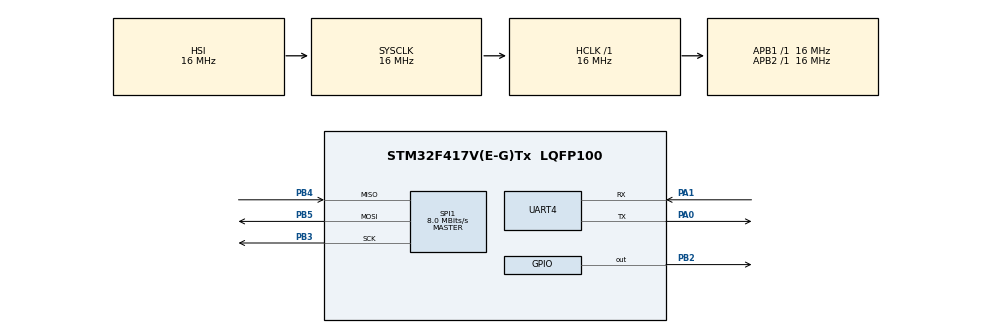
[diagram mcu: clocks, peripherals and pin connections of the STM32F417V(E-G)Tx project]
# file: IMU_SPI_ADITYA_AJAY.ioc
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FREERTOS.Tasks01=defaultTask,24,128,StartDefaultTask,Default,NULL,Dynamic,NULL,NULL
Mcu.Family=STM32F4
Mcu.Name=STM32F417V(E-G)Tx
Mcu.Package=LQFP100
NVIC.PriorityGroup=NVIC_PRIORITYGROUP_4
PA0-WKUP.Mode=Asynchronous
PA0-WKUP.Signal=UART4_TX
PA1.Mode=Asynchronous
PA1.Signal=UART4_RX
PB2.Signal=GPIO_Output
PB3.Mode=Full_Duplex_Master
PB3.Signal=SPI1_SCK
PB4.Mode=Full_Duplex_Master
PB4.Signal=SPI1_MISO
PB5.Mode=Full_Duplex_Master
PB5.Signal=SPI1_MOSI
ProjectManager.HeapSize=0x200
ProjectManager.StackSize=0x400
ProjectManager.TargetToolchain=STM32CubeIDE
RCC.AHBFreq_Value=16000000
RCC.APB1Freq_Value=16000000
RCC.APB2Freq_Value=16000000
RCC.CortexFreq_Value=16000000
RCC.HSE_VALUE=25000000
RCC.HSI_VALUE=16000000
RCC.LSE_VALUE=32768
RCC.SYSCLKFreq_VALUE=16000000
RCC.VCOOutputFreq_Value=192000000
SPI1.CalculateBaudRate=8.0 MBits/s
SPI1.Direction=SPI_DIRECTION_2LINES
SPI1.Mode=SPI_MODE_MASTER
SPI1.VirtualType=VM_MASTER
UART4.VirtualMode=Asynchronous
VP_FREERTOS_VS_CMSIS_V2.Mode=CMSIS_V2
board=custom

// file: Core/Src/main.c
/* USER CODE BEGIN Header */
/**
  ******************************************************************************
  * @file           : main.c
  * @brief          : Main program body
  ******************************************************************************
  * @attention
  *
  * Copyright (c) 2024 STMicroelectronics.
  * All rights reserved.
  *
  * This software is licensed under terms that can be found in the LICENSE file
  * in the root directory of this software component.
  * If no LICENSE file comes with this software, it is provided AS-IS.
  *
  ******************************************************************************
  */
/* USER CODE END Header */
#include "main.h"
#include "cmsis_os.h"

/* USER CODE BEGIN Includes */

#include <stdio.h>
#include "FreeRTOS.h"
#include "task.h"
/* USER CODE END Includes */

SPI_HandleTypeDef hspi1;

UART_HandleTypeDef huart4;

/* Definitions for defaultTask */
osThreadId_t defaultTaskHandle;
const osThreadAttr_t defaultTask_attributes = {
  .name = "defaultTask",
  .stack_size = 128 * 4,
  .priority = (osPriority_t) osPriorityNormal,
};
/* USER CODE BEGIN PV */
static void imuPolling();
static float tempConversion(uint8_t* byteTemp8);
static float accData();
static uint8_t accRange();
static float accConversion(uint16_t* byteTemp16, uint8_t acc_range);
/* USER CODE END PV */

void SystemClock_Config(void);
static void MX_GPIO_Init(void);
static void MX_SPI1_Init(void);
static void MX_UART4_Init(void);
void StartDefaultTask(void *argument);

int main(void)
{

  /* MCU Configuration--------------------------------------------------------*/

  /* Reset of all peripherals, Initializes the Flash interface and the Systick. */
  HAL_Init();

  /* Configure the system clock */
  SystemClock_Config();

  /* Initialize all configured peripherals */
  MX_GPIO_Init();
  MX_SPI1_Init();
  MX_UART4_Init();

  /* Init scheduler */
  osKernelInitialize();

  /* Create the thread(s) */
  /* creation of defaultTask */
  defaultTaskHandle = osThreadNew(StartDefaultTask, NULL, &defaultTask_attributes);

  /* Start scheduler */
  osKernelStart();

  /* We should never get here as control is now taken by the scheduler */
  /* Infinite loop */
  while (1)
  {

  }
}

void SystemClock_Config(void)
{
  RCC_OscInitTypeDef RCC_OscInitStruct = {0};
  RCC_ClkInitTypeDef RCC_ClkInitStruct = {0};

  /** Configure the main internal regulator output voltage
  */
  __HAL_RCC_PWR_CLK_ENABLE();
  __HAL_PWR_VOLTAGESCALING_CONFIG(PWR_REGULATOR_VOLTAGE_SCALE1);

  /** Initializes the RCC Oscillators according to the specified parameters
  * in the RCC_OscInitTypeDef structure.
  */
  RCC_OscInitStruct.OscillatorType = RCC_OSCILLATORTYPE_HSI;
  RCC_OscInitStruct.HSIState = RCC_HSI_ON;
  RCC_OscInitStruct.HSICalibrationValue = RCC_HSICALIBRATION_DEFAULT;
  RCC_OscInitStruct.PLL.PLLState = RCC_PLL_NONE;
  if (HAL_RCC_OscConfig(&RCC_OscInitStruct) != HAL_OK)
  {
    Error_Handler();
  }

  /** Initializes the CPU, AHB and APB buses clocks
  */
  RCC_ClkInitStruct.ClockType = RCC_CLOCKTYPE_HCLK|RCC_CLOCKTYPE_SYSCLK
                              |RCC_CLOCKTYPE_PCLK1|RCC_CLOCKTYPE_PCLK2;
  RCC_ClkInitStruct.SYSCLKSource = RCC_SYSCLKSOURCE_HSI;
  RCC_ClkInitStruct.AHBCLKDivider = RCC_SYSCLK_DIV1;
  RCC_ClkInitStruct.APB1CLKDivider = RCC_HCLK_DIV1;
  RCC_ClkInitStruct.APB2CLKDivider = RCC_HCLK_DIV1;

  if (HAL_RCC_ClockConfig(&RCC_ClkInitStruct, FLASH_LATENCY_0) != HAL_OK)
  {
    Error_Handler();
  }
}

static void MX_SPI1_Init(void)
{

  /* SPI1 parameter configuration*/
  hspi1.Instance = SPI1;
  hspi1.Init.Mode = SPI_MODE_MASTER;
  hspi1.Init.Direction = SPI_DIRECTION_2LINES;
  hspi1.Init.DataSize = SPI_DATASIZE_8BIT;
  hspi1.Init.CLKPolarity = SPI_POLARITY_LOW;
  hspi1.Init.CLKPhase = SPI_PHASE_1EDGE;
  hspi1.Init.NSS = SPI_NSS_SOFT;
  hspi1.Init.BaudRatePrescaler = SPI_BAUDRATEPRESCALER_2;
  hspi1.Init.FirstBit = SPI_FIRSTBIT_MSB;
  hspi1.Init.TIMode = SPI_TIMODE_DISABLE;
  hspi1.Init.CRCCalculation = SPI_CRCCALCULATION_DISABLE;
  hspi1.Init.CRCPolynomial = 10;
  if (HAL_SPI_Init(&hspi1) != HAL_OK)
  {
    Error_Handler();
  }

}

static void MX_UART4_Init(void)
{

  huart4.Instance = UART4;
  huart4.Init.BaudRate = 115200;
  huart4.Init.WordLength = UART_WORDLENGTH_8B;
  huart4.Init.StopBits = UART_STOPBITS_1;
  huart4.Init.Parity = UART_PARITY_NONE;
  huart4.Init.Mode = UART_MODE_TX_RX;
  huart4.Init.HwFlowCtl = UART_HWCONTROL_NONE;
  huart4.Init.OverSampling = UART_OVERSAMPLING_16;
  if (HAL_UART_Init(&huart4) != HAL_OK)
  {
    Error_Handler();
  }

}
deks
static void MX_GPIO_Init(void)
{
  GPIO_InitTypeDef GPIO_InitStruct = {0};

  /* GPIO Ports Clock Enable */
  __HAL_RCC_GPIOA_CLK_ENABLE();
  __HAL_RCC_GPIOB_CLK_ENABLE();

  /*Configure GPIO pin Output Level */
  HAL_GPIO_WritePin(GPIOB, GPIO_PIN_2, GPIO_PIN_RESET);

  /*Configure GPIO pin : PB2 */
  GPIO_InitStruct.Pin = GPIO_PIN_2;
  GPIO_InitStruct.Mode = GPIO_MODE_OUTPUT_PP;
  GPIO_InitStruct.Pull = GPIO_NOPULL;
  GPIO_InitStruct.Speed = GPIO_SPEED_FREQ_LOW;
  HAL_GPIO_Init(GPIOB, &GPIO_InitStruct);

}

/* USER CODE BEGIN 4 */

static void imuPolling(){

	#define MESSAGE_LEN 3
	#define TIMEOUT_DELAY 100
	#define TEMP_MSB_REG 0x22
	#define READ_COMMAND_MASK 0x80

	char uart_buf[50];
	int uart_buf_len;
	char uart_buf_fail[50];
	int uart_buf_fail_len;
	char uart_result_temp[50];
	int uart_result_temp_len;

	uart_buf_len = sprintf(uart_buf, "Begun \r\n");
	HAL_UART_Transmit(&huart4, (uint8_t *)uart_buf, uart_buf_len, 100);

	const uint8_t TRANSMIT_MESSAGE[MESSAGE_LEN] = {TEMP_MSB_REG | READ_COMMAND_MASK, 0x00, 0x00};
	const uint8_t RECEIVE_MESSAGE[MESSAGE_LEN];
	HAL_StatusTypeDef status;

	uart_buf_fail_len = sprintf(uart_buf_fail, "Failure \r\n");

	//Setting the initial value for the CSB
	HAL_GPIO_WritePin(GPIOB, GPIO_PIN_2, GPIO_PIN_SET);

	for(;;){

// According to the data sheet PS or Pin (#07) should be grounded for SPI and set to VDDIO for I2C.

		HAL_GPIO_WritePin(GPIOB, GPIO_PIN_2, GPIO_PIN_RESET);

		//SPI command to read data from specific register
		status = HAL_SPI_TransmitReceive(&hspi1, TRANSMIT_MESSAGE, RECEIVE_MESSAGE, MESSAGE_LEN, TIMEOUT_DELAY);

		//Error to console if status is not OK
		if(status!=HAL_OK){
			HAL_UART_Transmit(&huart4, (uint8_t *)uart_buf_fail, uart_buf_fail_len, 100);
		}

		// SET CSB to Low
		HAL_GPIO_WritePin(GPIOB, GPIO_PIN_2, GPIO_PIN_SET);

		// Temperature Conversions according to data sheet
		float regular_temp = tempConversion(RECEIVE_MESSAGE);

		//Printing temperature results to console
		uart_result_temp_len = sprintf(uart_result_temp, "Temperature: %.2f°C\r\n", regular_temp);
		HAL_UART_Transmit(&huart4, (uint8_t *)uart_result_temp, uart_result_temp_len, 100);

		vTaskDelay(pdMS_TO_TICKS(1280));
	}

}

static float tempConversion(uint8_t* byteTemp8){

	uint16_t raw_temp = ((byteTemp8[1] * 8) + (byteTemp8[2]/32));
	uint16_t temp_int11 = (raw_temp > 1023) ? raw_temp - 2048 : raw_temp;
	float normal_temp = (temp_int11 * 0.125) + 23;

	return normal_temp;
}

static void accData(){

	#define MESSAGE_LEN 7
	#define TIMEOUT_DELAY 100
	#define ACC_LSB_REG 0x22
	#define READ_COMMAND_MASK 0x80

	char uart_buf[50];
	int uart_buf_len;
	char uart_buf_fail[50];
	int uart_buf_fail_len;
	char uart_result_acc[50];
	int uart_result_acc_len;

	uart_buf_len = sprintf(uart_buf, "Begun \r\n");
	HAL_UART_Transmit(&huart4, (uint8_t *)uart_buf, uart_buf_len, 100);

	//Receive message is 3 long since the first byte is a dummy byte, second is the MSB, and third is LSB
	const uint8_t TRANSMIT_MESSAGE[MESSAGE_LEN] = {ACC_LSB_REG | READ_COMMAND_MASK, 0x00, 0x00, 0x00, 0x00, 0x00, 0x00};
	const uint8_t RECEIVE_MESSAGE[MESSAGE_LEN];
	HAL_StatusTypeDef status;

	uart_buf_fail_len = sprintf(uart_buf_fail, "Failure \r\n");

	uint8_t acceleration_range = accRange();

	//Setting the initial value for the CSB
	HAL_GPIO_WritePin(GPIOB, GPIO_PIN_2, GPIO_PIN_SET);

	for(;;){

	// According to the data sheet PS or Pin (#07) should be grounded for SPI and set to VDDIO for I2C.

			HAL_GPIO_WritePin(GPIOB, GPIO_PIN_2, GPIO_PIN_RESET);

			//SPI command to read data from specific register
			status = HAL_SPI_TransmitReceive(&hspi1, TRANSMIT_MESSAGE, RECEIVE_MESSAGE, MESSAGE_LEN, TIMEOUT_DELAY);

			//Error to console if status is not OK
			if(status!=HAL_OK){
				HAL_UART_Transmit(&huart4, (uint8_t *)uart_buf_fail, uart_buf_fail_len, 100);
			}

			// SET CSB to Low
			HAL_GPIO_WritePin(GPIOB, GPIO_PIN_2, GPIO_PIN_SET);

			// Temperature Conversions according to data sheet
			float regular_acc = accConversion(RECEIVE_MESSAGE, acceleration_range);

			//Printing temperature results to console
			uart_result_acc_len = sprintf(uart_result_acc, "Acceleration: %.2f°C\r\n", regular_acc);
			HAL_UART_Transmit(&huart4, (uint8_t *)uart_result_acc, uart_result_acc_len, 100);

			vTaskDelay(pdMS_TO_TICKS(1280));
	}

}

static uint8_t accRange(){
	#define MESSAGE_LEN 2
	#define TIMEOUT_DELAY 100
	#define ACC_RANGE_REG 0x41
	#define READ_COMMAND_MASK 0x80

	const uint8_t TRANSMIT_MESSAGE[MESSAGE_LEN] = {ACC_RANGE_REG | READ_COMMAND_MASK, 0x00};
	const uint8_t RECEIVE_MESSAGE[MESSAGE_LEN];

	//Setting the initial value for the CSB
	HAL_GPIO_WritePin(GPIOB, GPIO_PIN_2, GPIO_PIN_SET);

	HAL_GPIO_WritePin(GPIOB, GPIO_PIN_2, GPIO_PIN_RESET);

	//SPI command to read data from specific register
	HAL_SPI_TransmitReceive(&hspi1, TRANSMIT_MESSAGE, RECEIVE_MESSAGE, MESSAGE_LEN, TIMEOUT_DELAY);

	// SET CSB to Low
	HAL_GPIO_WritePin(GPIOB, GPIO_PIN_2, GPIO_PIN_SET);

	uint8_t acc_range = RECEIVE_MESSAGE[1];

	//Maybe should include this, reserve command masking, acc_range &= 0xFC;

	return acc_range;
}

static float accConversion(uint16_t* byteTemp16, uint8_t acc_range){

	uint16_t Accel_X_int16 = byteTemp16[2]*256 + byteTemp16[1];
	uint16_t Accel_Y_int16 = byteTemp16[4]*256 + byteTemp16[3];
	uint16_t Accel_Z_int16 = byteTemp16[6]*256 + byteTemp16[5];

	float Accel_X_in_mg = Accel_X_int16/32768*1000*(2^(acc_range + 1))*1.5;
	float Accel_Y_in_mg = Accel_Y_int16/32768*1000*(2^(acc_range + 1))*1.5;
	float Accel_Z_in_mg = Accel_Z_int16/32768*1000*(2^(acc_range + 1))*1.5;

	float normal_acc = ((Accel_X_in_mg^2) + (Accel_X_in_mg^2) + (Accel_X_in_mg^2))^0.5;

	return normal_acc;
}

/* USER CODE END 4 */

void StartDefaultTask(void *argument)
{
  for(;;)
  {
    osDelay(1);
  }
}

void Error_Handler(void)
{
  __disable_irq();
  while (1)
  {
  }
}
